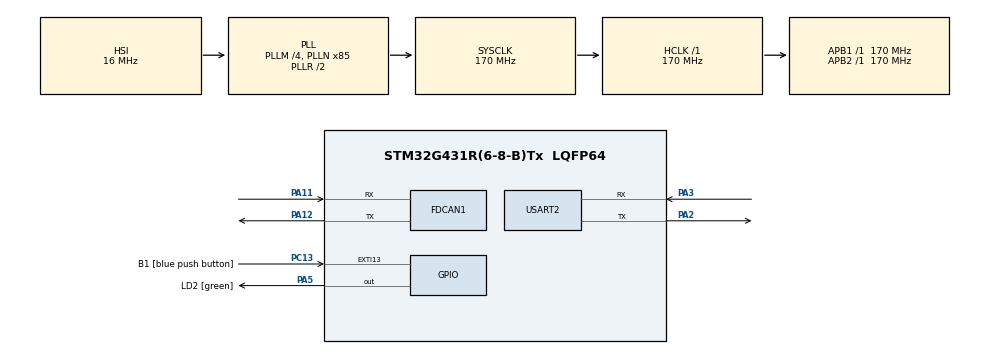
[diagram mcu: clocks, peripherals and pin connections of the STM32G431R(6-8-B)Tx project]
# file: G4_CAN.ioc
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FDCAN1.CalculateBaudRateNominal=500000
FDCAN1.CalculateTimeBitNominal=2000
FDCAN1.CalculateTimeQuantumNominal=100.0
FDCAN1.NominalPrescaler=17
FDCAN1.NominalTimeSeg1=16
FDCAN1.NominalTimeSeg2=3
Mcu.Family=STM32G4
Mcu.Name=STM32G431R(6-8-B)Tx
Mcu.Package=LQFP64
NVIC.FDCAN1_IT0_IRQn=true\:0\:0\:false\:false\:true\:true\:true\:true
NVIC.PriorityGroup=NVIC_PRIORITYGROUP_4
NVIC.USART2_IRQn=true\:0\:0\:false\:false\:true\:true\:true\:true
PA11.Mode=FDCAN_Activate
PA11.Signal=FDCAN1_RX
PA12.Mode=FDCAN_Activate
PA12.Signal=FDCAN1_TX
PA13.GPIO_Label=T_SWDIO
PA13.Signal=SYS_JTMS-SWDIO
PA14.GPIO_Label=T_SWCLK
PA14.Signal=SYS_JTCK-SWCLK
PA2.Mode=Asynchronous
PA2.Signal=USART2_TX
PA3.Mode=Asynchronous
PA3.Signal=USART2_RX
PA5.GPIO_Label=LD2 [green]
PA5.Signal=GPIO_Output
PB3.GPIO_Label=T_SWO
PB3.Signal=SYS_JTDO-SWO
PC13.GPIO_Label=B1 [blue push button]
PC13.Signal=GPXTI13
PC14-OSC32_IN.GPIO_Label=RCC_OSC32_OUT
PC14-OSC32_IN.Signal=RCC_OSC32_IN
PC15-OSC32_OUT.GPIO_Label=RCC_OSC32_OUT
PC15-OSC32_OUT.Signal=RCC_OSC32_OUT
PF0-OSC_IN.GPIO_Label=RCC_OSC_IN
PF0-OSC_IN.Signal=RCC_OSC_IN
PF1-OSC_OUT.GPIO_Label=RCC_OSC_OUT
PF1-OSC_OUT.Signal=RCC_OSC_OUT
ProjectManager.HeapSize=0x200
ProjectManager.StackSize=0x400
ProjectManager.TargetToolchain=STM32CubeIDE
RCC.ADC12Freq_Value=170000000
RCC.AHBFreq_Value=170000000
RCC.APB1Freq_Value=170000000
RCC.APB1TimFreq_Value=170000000
RCC.APB2Freq_Value=170000000
RCC.APB2TimFreq_Value=170000000
RCC.CortexFreq_Value=170000000
RCC.EXTERNAL_CLOCK_VALUE=12288000
RCC.HCLKFreq_Value=170000000
RCC.HSE_VALUE=24000000
RCC.HSI48_VALUE=48000000
RCC.HSI_VALUE=16000000
RCC.LSE_VALUE=32768
RCC.PLLM=RCC_PLLM_DIV4
RCC.PLLN=85
RCC.RTCClockSelection=RCC_RTCCLKSOURCE_LSE
RCC.SYSCLKFreq_VALUE=170000000
RCC.SYSCLKSource=RCC_SYSCLKSOURCE_PLLCLK
RCC.USBFreq_Value=170000000
RCC.VCOOutputFreq_Value=340000000
USART2.VirtualMode-Asynchronous=VM_ASYNC
VP_SYS_VS_DBSignals.Mode=DisableDeadBatterySignals
board=NUCLEO-G431RB

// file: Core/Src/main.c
/* USER CODE BEGIN Header */
/**
  ******************************************************************************
  * @file           : main.c
  * @brief          : Main program body
  ******************************************************************************
  * @attention
  *
  * Copyright (c) 2025 STMicroelectronics.
  * All rights reserved.
  *
  * This software is licensed under terms that can be found in the LICENSE file
  * in the root directory of this software component.
  * If no LICENSE file comes with this software, it is provided AS-IS.
  *
  ******************************************************************************
  */
/* USER CODE END Header */
#include "main.h"

/* USER CODE BEGIN Includes */
#include "slave_driver.h"
#include "can_odrive.h"
#include "can_wrapper.h"
#include "commander.h"
#include <stdio.h>
#include <string.h>
#include <stdlib.h>
#include <stdbool.h>
/* USER CODE END Includes */

/* USER CODE BEGIN PD */
#define DEVICE_IS_MASTER // zmien w flagach kompilacji
/* USER CODE END PD */

FDCAN_HandleTypeDef hfdcan1;

UART_HandleTypeDef huart2;

void SystemClock_Config(void);
static void MX_GPIO_Init(void);
static void MX_FDCAN1_Init(void);
static void MX_USART2_UART_Init(void);

/* USER CODE BEGIN 0 */
int __io_putchar(int ch)
{
    if (ch == '\n') {
        uint8_t ch2 = '\r';
        HAL_UART_Transmit(&huart2, &ch2, 1, HAL_MAX_DELAY);
    }
    HAL_UART_Transmit(&huart2, (uint8_t*)&ch, 1, HAL_MAX_DELAY);
    return 1;
}
/* USER CODE END 0 */

int main(void)
{

  /* MCU Configuration--------------------------------------------------------*/

  /* Reset of all peripherals, Initializes the Flash interface and the Systick. */
  HAL_Init();

  /* Configure the system clock */
  SystemClock_Config();

  /* Initialize all configured peripherals */
  MX_GPIO_Init();
  MX_FDCAN1_Init();
  MX_USART2_UART_Init();
  /* USER CODE BEGIN 2 */
  Commander_Init(&huart2);

  printf("\r\n--- ODrive MASTER Node Initializing ---\r\n");

  SlaveDriver_Init(&hfdcan1);

  printf("Master Node Online. Starting to send commands...\r\n");
  /* USER CODE END 2 */

  /* Infinite loop */
  /* USER CODE BEGIN WHILE */
  while (1)
  {
	  Commander_Process();
    /* USER CODE END WHILE */

  }
}

void SystemClock_Config(void)
{
  RCC_OscInitTypeDef RCC_OscInitStruct = {0};
  RCC_ClkInitTypeDef RCC_ClkInitStruct = {0};

  /** Configure the main internal regulator output voltage
  */
  HAL_PWREx_ControlVoltageScaling(PWR_REGULATOR_VOLTAGE_SCALE1_BOOST);

  /** Initializes the RCC Oscillators according to the specified parameters
  * in the RCC_OscInitTypeDef structure.
  */
  RCC_OscInitStruct.OscillatorType = RCC_OSCILLATORTYPE_HSI;
  RCC_OscInitStruct.HSIState = RCC_HSI_ON;
  RCC_OscInitStruct.HSICalibrationValue = RCC_HSICALIBRATION_DEFAULT;
  RCC_OscInitStruct.PLL.PLLState = RCC_PLL_ON;
  RCC_OscInitStruct.PLL.PLLSource = RCC_PLLSOURCE_HSI;
  RCC_OscInitStruct.PLL.PLLM = RCC_PLLM_DIV4;
  RCC_OscInitStruct.PLL.PLLN = 85;
  RCC_OscInitStruct.PLL.PLLP = RCC_PLLP_DIV2;
  RCC_OscInitStruct.PLL.PLLQ = RCC_PLLQ_DIV2;
  RCC_OscInitStruct.PLL.PLLR = RCC_PLLR_DIV2;
  if (HAL_RCC_OscConfig(&RCC_OscInitStruct) != HAL_OK)
  {
    Error_Handler();
  }

  /** Initializes the CPU, AHB and APB buses clocks
  */
  RCC_ClkInitStruct.ClockType = RCC_CLOCKTYPE_HCLK|RCC_CLOCKTYPE_SYSCLK
                              |RCC_CLOCKTYPE_PCLK1|RCC_CLOCKTYPE_PCLK2;
  RCC_ClkInitStruct.SYSCLKSource = RCC_SYSCLKSOURCE_PLLCLK;
  RCC_ClkInitStruct.AHBCLKDivider = RCC_SYSCLK_DIV1;
  RCC_ClkInitStruct.APB1CLKDivider = RCC_HCLK_DIV1;
  RCC_ClkInitStruct.APB2CLKDivider = RCC_HCLK_DIV1;

  if (HAL_RCC_ClockConfig(&RCC_ClkInitStruct, FLASH_LATENCY_4) != HAL_OK)
  {
    Error_Handler();
  }
}

static void MX_FDCAN1_Init(void)
{

  hfdcan1.Instance = FDCAN1;
  hfdcan1.Init.ClockDivider = FDCAN_CLOCK_DIV1;
  hfdcan1.Init.FrameFormat = FDCAN_FRAME_CLASSIC;
  hfdcan1.Init.Mode = FDCAN_MODE_NORMAL;
  hfdcan1.Init.AutoRetransmission = DISABLE;
  hfdcan1.Init.TransmitPause = DISABLE;
  hfdcan1.Init.ProtocolException = DISABLE;
  hfdcan1.Init.NominalPrescaler = 17;
  hfdcan1.Init.NominalSyncJumpWidth = 1;
  hfdcan1.Init.NominalTimeSeg1 = 16;
  hfdcan1.Init.NominalTimeSeg2 = 3;
  hfdcan1.Init.DataPrescaler = 1;
  hfdcan1.Init.DataSyncJumpWidth = 1;
  hfdcan1.Init.DataTimeSeg1 = 1;
  hfdcan1.Init.DataTimeSeg2 = 1;
  hfdcan1.Init.StdFiltersNbr = 0;
  hfdcan1.Init.ExtFiltersNbr = 0;
  hfdcan1.Init.TxFifoQueueMode = FDCAN_TX_FIFO_OPERATION;
  if (HAL_FDCAN_Init(&hfdcan1) != HAL_OK)
  {
    Error_Handler();
  }

}

static void MX_USART2_UART_Init(void)
{

  huart2.Instance = USART2;
  huart2.Init.BaudRate = 115200;
  huart2.Init.WordLength = UART_WORDLENGTH_8B;
  huart2.Init.StopBits = UART_STOPBITS_1;
  huart2.Init.Parity = UART_PARITY_NONE;
  huart2.Init.Mode = UART_MODE_TX_RX;
  huart2.Init.HwFlowCtl = UART_HWCONTROL_NONE;
  huart2.Init.OverSampling = UART_OVERSAMPLING_16;
  huart2.Init.OneBitSampling = UART_ONE_BIT_SAMPLE_DISABLE;
  huart2.Init.ClockPrescaler = UART_PRESCALER_DIV1;
  huart2.AdvancedInit.AdvFeatureInit = UART_ADVFEATURE_NO_INIT;
  if (HAL_UART_Init(&huart2) != HAL_OK)
  {
    Error_Handler();
  }
  if (HAL_UARTEx_SetTxFifoThreshold(&huart2, UART_TXFIFO_THRESHOLD_1_8) != HAL_OK)
  {
    Error_Handler();
  }
  if (HAL_UARTEx_SetRxFifoThreshold(&huart2, UART_RXFIFO_THRESHOLD_1_8) != HAL_OK)
  {
    Error_Handler();
  }
  if (HAL_UARTEx_DisableFifoMode(&huart2) != HAL_OK)
  {
    Error_Handler();
  }

}

static void MX_GPIO_Init(void)
{
  GPIO_InitTypeDef GPIO_InitStruct = {0};

  /* GPIO Ports Clock Enable */
  __HAL_RCC_GPIOC_CLK_ENABLE();
  __HAL_RCC_GPIOF_CLK_ENABLE();
  __HAL_RCC_GPIOA_CLK_ENABLE();
  __HAL_RCC_GPIOB_CLK_ENABLE();

  /*Configure GPIO pin Output Level */
  HAL_GPIO_WritePin(LD2_GPIO_Port, LD2_Pin, GPIO_PIN_RESET);

  /*Configure GPIO pin : B1_Pin */
  GPIO_InitStruct.Pin = B1_Pin;
  GPIO_InitStruct.Mode = GPIO_MODE_IT_RISING;
  GPIO_InitStruct.Pull = GPIO_NOPULL;
  HAL_GPIO_Init(B1_GPIO_Port, &GPIO_InitStruct);

  /*Configure GPIO pin : LD2_Pin */
  GPIO_InitStruct.Pin = LD2_Pin;
  GPIO_InitStruct.Mode = GPIO_MODE_OUTPUT_PP;
  GPIO_InitStruct.Pull = GPIO_NOPULL;
  GPIO_InitStruct.Speed = GPIO_SPEED_FREQ_LOW;
  HAL_GPIO_Init(LD2_GPIO_Port, &GPIO_InitStruct);

}

void Error_Handler(void)
{
  __disable_irq();
  while (1)
  {
  }
}
